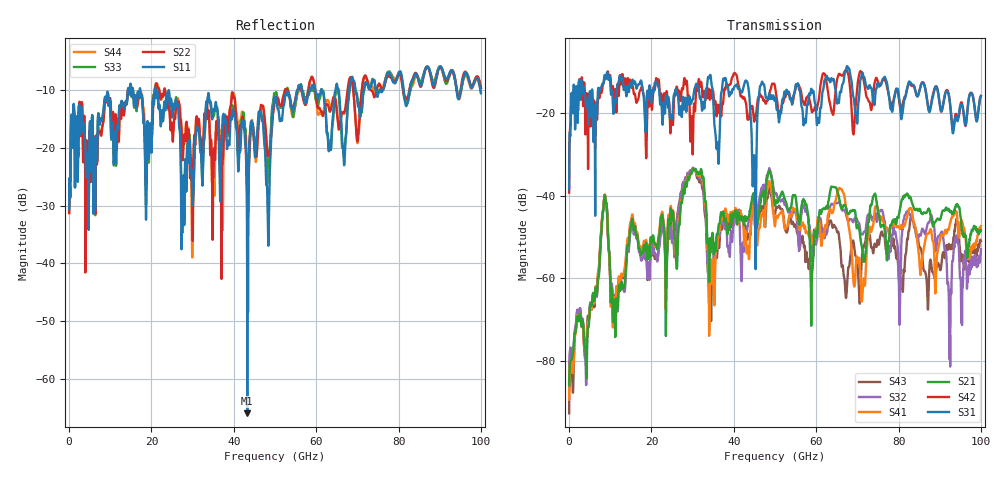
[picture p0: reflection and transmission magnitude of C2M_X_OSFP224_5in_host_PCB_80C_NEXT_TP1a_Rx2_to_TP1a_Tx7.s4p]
# GHz S RI R 45
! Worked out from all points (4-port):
!   4000 points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, 25 MHz to 100 GHz, reference 45 ohm
!   strongest paths, dB at 25 MHz, 25.02 GHz, 50.02 GHz, 75.03 GHz, 100 GHz:
!     S31: -38.4, -21.6, -16.5, -12.9, -16.0
!     S42: -39.3, -21.6, -13.7, -12.5, -15.9
!     S21: -85.9, -45.9, -42.5, -44.2, -48.5
!     S41: -89.3, -45.0, -47.4, -43.2, -47.4
!     S32: -85.3, -51.5, -39.7, -44.0, -53.0
!     S43: -92.6, -50.7, -44.4, -50.9, -51.0
!   lowest |S11| = -65.9 dB at 43.27 GHz (marker M1), VSWR 1.00, Z = 45 + j0.0199 ohm
!   |S11| at or under -10 dB: start of sweep to 14.3 GHz; 17.3 GHz to 20.84 GHz (3.538 GHz wide, 18.5 % of centre); 21 GHz to 55.54 GHz (34.54 GHz wide, 90.2 % of centre) (the widest 3 of 15)
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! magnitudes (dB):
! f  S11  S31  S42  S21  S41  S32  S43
! 25 MHz  -30.6  -38.4  -39.3  -85.9  -89.3  -85.3  -92.6
! 8.7 GHz  -11.3  -10.9  -11.3  -39.9  -39.8  -40.1  -40.0
! 11.03 GHz  -19.0  -16.9  -18.9  -65.8  -65.5  -64.3  -64.8
! 30.27 GHz  -26.3  -15.4  -19.0  -33.6  -33.7  -33.4  -33.6
! 34.25 GHz  -12.1  -10.9  -16.4  -51.0  -57.3  -51.2  -62.1
! 43.27 GHz  -65.9  -12.6  -21.1  -45.4  -52.8  -48.1  -49.9
! 100 GHz  -10.6  -16.0  -15.9  -48.5  -47.4  -53.0  -51.0
